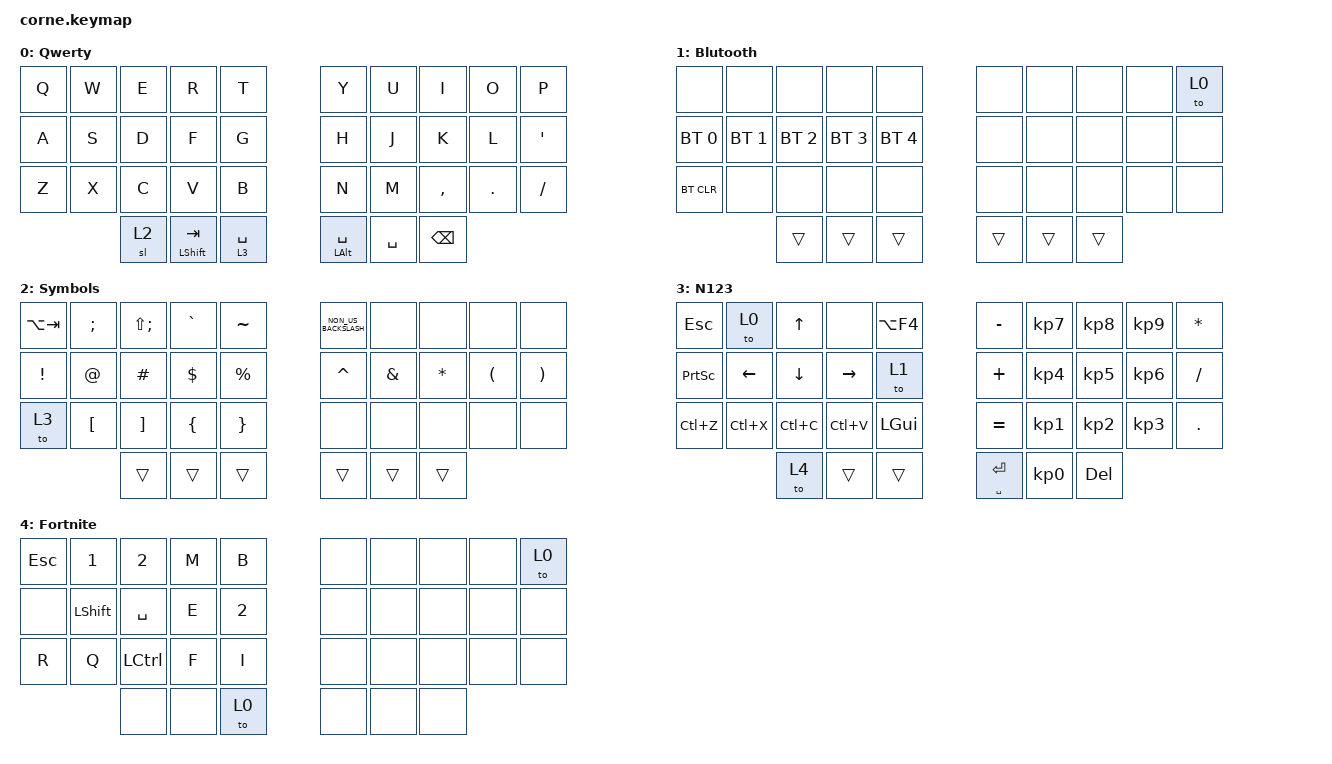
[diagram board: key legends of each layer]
/*
 * Copyright (c) 2020 The ZMK Contributors
 *
 * SPDX-License-Identifier: MIT
 */

#include <behaviors.dtsi>
#include <dt-bindings/zmk/bt.h>
#include <dt-bindings/zmk/keys.h>

&sl { release-after-ms = <5000>; };

/ {
        behaviors {
        td0: tap_dance_0 {
            compatible = "zmk,behavior-tap-dance";
            #binding-cells = <0>;
            tapping-term-ms = <200>;
            bindings = <&kp SPACE>, <&kp RETURN>;
        };
        td1: tap_dance_1 {
            compatible = "zmk,behavior-tap-dance";
            #binding-cells = <0>;
            tapping-term-ms = <200>;
            bindings = <&kp BACKSPACE>, <&kp DEL>;
        };
    };

    chosen { zmk,physical-layout = &foostan_corne_5col_layout; };

    keymap {
        compatible = "zmk,keymap";

        Qwerty {
            display-name = "Qwerty";
            bindings = <
&kp Q  &kp W  &kp E  &kp R  &kp T        &kp Y  &kp U  &kp I  &kp O  &kp P               
&kp A  &kp S  &kp D  &kp F  &kp G        &kp H  &kp J  &kp K  &kp L  &kp SQT             
&kp Z  &kp X  &kp C  &kp V  &kp B        &kp N  &kp M  &kp COMMA  &kp DOT  &kp FSLH    
&sl 2  &mt LEFT_SHIFT TAB  &lt 3 SPACE        &mt LEFT_ALT SPACE  &kp SPACE  &kp BACKSPACE
            >;
        };

        Blutooth {
            display-name = "Blutooth";
            bindings = <
&none  &none  &none  &none  &none        &none  &none  &none  &none  &to 0   
&bt BT_SEL 0  &bt BT_SEL 1  &bt BT_SEL 2  &bt BT_SEL 3  &bt BT_SEL 4        &none  &none  &none  &none   &none   
&bt BT_CLR  &none  &none  &none  &none        &none  &none  &none  &none  &none    
&trans  &trans  &trans        &trans  &trans  &trans
            >;
        };

        Symbols {
            display-name = "Symbols";
            bindings = <
&kp LA(TAB)  &kp SEMICOLON  &kp LS(SEMICOLON)  &kp GRAVE  &kp TILDE        &kp NON_US_BACKSLASH  &none  &none  &none  &none             
&kp EXCLAMATION  &kp AT_SIGN  &kp HASH  &kp DOLLAR  &kp PERCENT        &kp CARET  &kp AMPERSAND  &kp ASTERISK  &kp LEFT_PARENTHESIS  &kp RIGHT_PARENTHESIS  
&to 3  &kp LEFT_BRACKET  &kp RIGHT_BRACKET  &kp LEFT_BRACE  &kp RIGHT_BRACE        &none  &none  &none  &none &none                   
&trans  &trans  &trans        &trans  &trans  &trans
            >;
        };

        NumPad {
            display-name = "N123";
            bindings = <
&kp ESCAPE  &to 0  &kp UP  &none  &kp LA(F4)        &kp MINUS  &kp KP_NUMBER_7  &kp KP_NUMBER_8  &kp KP_NUMBER_9  &kp ASTERISK  
&kp PRINTSCREEN  &kp LEFT_ARROW  &kp DOWN  &kp RIGHT  &to 1        &kp PLUS  &kp KP_NUMBER_4  &kp KP_NUMBER_5  &kp KP_NUMBER_6  &kp SLASH
&kp LC(Z)  &kp LC(X)  &kp LC(C)  &kp LC(V)  &kp LEFT_GUI        &kp EQUAL  &kp KP_NUMBER_1  &kp KP_NUMBER_2  &kp KP_NUMBER_3  &kp DOT            
&to 4  &trans  &trans        &mt SPACE RETURN  &kp KP_NUMBER_0  &kp DEL
            >;
        };

        Fortnite {
            display-name = "Fortnite";
            bindings = <
&kp ESCAPE  &kp NUMBER_1  &kp NUMBER_2  &kp M  &kp B        &none  &none  &none  &none  &to 0  
&none  &kp LEFT_SHIFT  &kp SPACE  &kp E  &kp NUMBER_2        &none  &none  &none  &none  &none  
&kp R  &kp Q  &kp LCTRL  &kp F  &kp I        &none  &none  &none  &none  &none  
&none  &none  &to 0        &none  &none  &none
            >;
        };
    };
};
